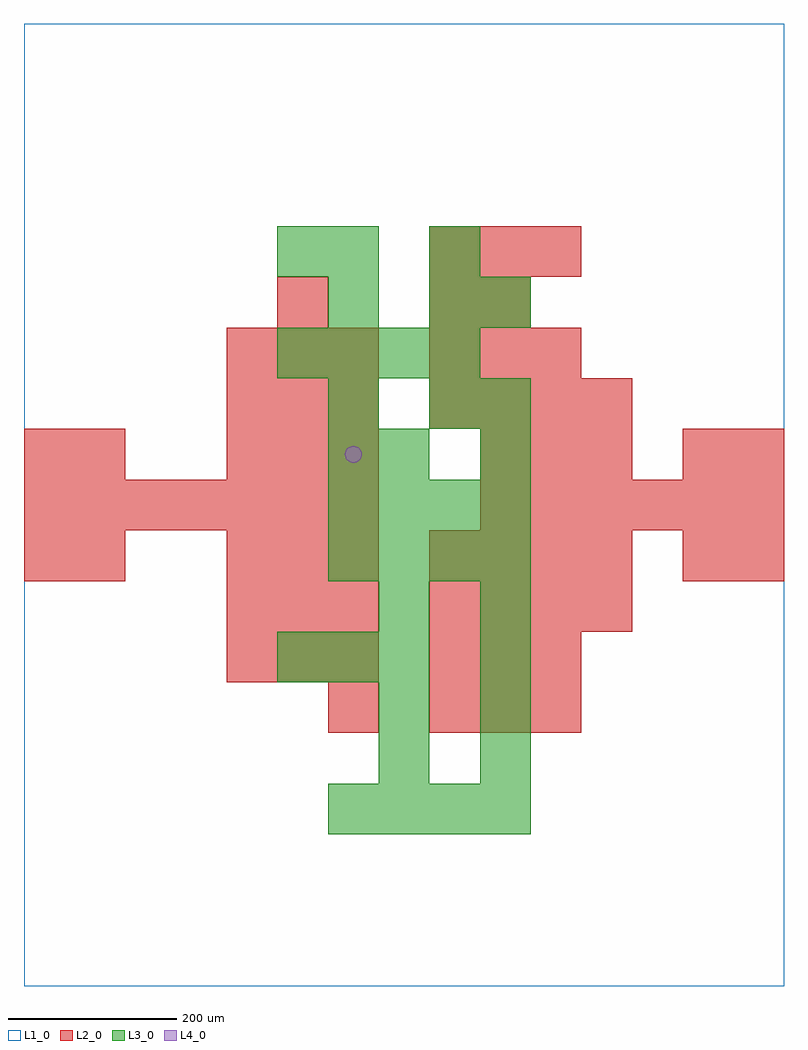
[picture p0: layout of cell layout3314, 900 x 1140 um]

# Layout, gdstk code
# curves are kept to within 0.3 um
import gdstk
lib = gdstk.Library(unit=1e-6, precision=1e-09)
def R(c, l, rs):  # rectangles x0, y0, x1, y1
    for r in rs: c.add(gdstk.rectangle(r[:2], r[2:], *l))
def A(c, l, x, y, w, h, nx, ny, dx, dy):  # array of equal rectangles
    R(c, l, [(x+i*dx, y+j*dy, x+i*dx+w, y+j*dy+h) for i in range(nx) for j in range(ny)])
def P(c, l, *ps):  # polygons
    for p in ps: c.add(gdstk.Polygon(p, *l))
L1_0 = (1, 0)
L2_0 = (2, 0)
L3_0 = (3, 0)
L4_0 = (4, 0)

layout3314 = lib.new_cell('layout3314')
R(layout3314, L1_0, [(0,0,900,1140)])
A(layout3314, L2_0, 480, 300, 60, 60, 3, 2, 60, 60)
A(layout3314, L2_0, 240, 360, 60, 60, 3, 3, 60, 60)
A(layout3314, L2_0, 480, 420, 60, 60, 4, 2, 60, 60)
A(layout3314, L2_0, 0, 540, 60, 60, 7, 1, 60, 0)
A(layout3314, L2_0, 540, 540, 60, 60, 6, 1, 60, 0)
A(layout3314, L2_0, 240, 600, 60, 60, 3, 3, 60, 60)
A(layout3314, L2_0, 540, 600, 60, 60, 3, 1, 60, 0)
A(layout3314, L2_0, 480, 660, 60, 60, 4, 1, 60, 0)
A(layout3314, L2_0, 480, 720, 60, 60, 3, 2, 60, 120)
R(layout3314, L2_0, [(360,300,420,360), (0,480,60,540), (60,480,120,540), (780,480,840,540), (840,480,900,540), (0,600,60,660), (60,600,120,660), (780,600,840,660), (840,600,900,660), (300,780,360,840), (480,780,540,840), (540,780,600,840)])
A(layout3314, L3_0, 360, 180, 60, 60, 4, 2, 60, 300)
A(layout3314, L3_0, 540, 240, 60, 60, 1, 4, 0, 60)
A(layout3314, L3_0, 300, 360, 60, 60, 3, 1, 60, 0)
A(layout3314, L3_0, 360, 540, 60, 60, 4, 1, 60, 0)
A(layout3314, L3_0, 300, 720, 60, 60, 4, 1, 60, 0)
R(layout3314, L3_0, [(420,240,480,300), (420,300,480,360), (420,420,480,480), (360,600,420,660), (420,600,480,660), (540,600,600,660), (360,660,420,720), (480,660,540,720), (540,660,600,720), (360,780,420,840), (480,780,540,840), (540,780,600,840), (300,840,360,900), (360,840,420,900), (480,840,540,900)])
P(layout3314, L4_0, [(400,630),(399.239,633.827),(397.071,637.071),(393.827,639.239),(390,640),(386.173,639.239),(382.929,637.071),(380.761,633.827),(380,630),(380.761,626.173),(382.929,622.929),(386.173,620.761),(390,620),(393.827,620.761),(397.071,622.929),(399.239,626.173)])

lib.write_gds('layout3314.gds')
